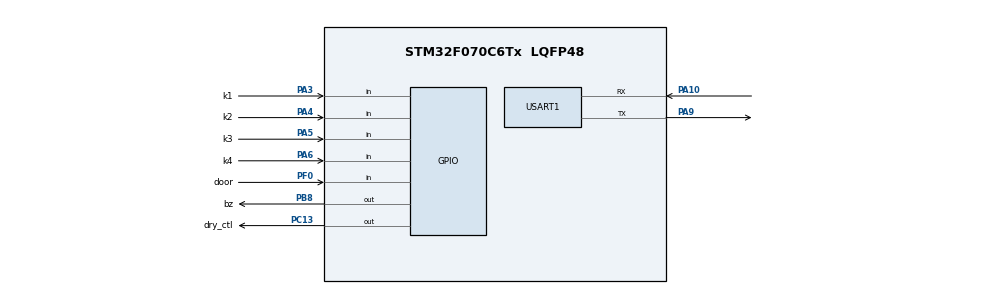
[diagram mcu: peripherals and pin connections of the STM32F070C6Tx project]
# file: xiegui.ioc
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Dma.Request0=USART1_RX
Dma.USART1_RX.0.Direction=DMA_PERIPH_TO_MEMORY
Dma.USART1_RX.0.Instance=DMA1_Channel3
Dma.USART1_RX.0.MemDataAlignment=DMA_MDATAALIGN_BYTE
Dma.USART1_RX.0.MemInc=DMA_MINC_ENABLE
Dma.USART1_RX.0.Mode=DMA_NORMAL
Dma.USART1_RX.0.PeriphDataAlignment=DMA_PDATAALIGN_BYTE
Dma.USART1_RX.0.PeriphInc=DMA_PINC_DISABLE
Dma.USART1_RX.0.Priority=DMA_PRIORITY_LOW
Mcu.Family=STM32F0
Mcu.Name=STM32F070C6Tx
Mcu.Package=LQFP48
NVIC.DMA1_Channel2_3_IRQn=true\:0\:0\:false\:false\:true\:false\:true
PA10.Mode=Asynchronous
PA10.Signal=USART1_RX
PA13.Mode=Serial_Wire
PA13.Signal=SYS_SWDIO
PA14.Mode=Serial_Wire
PA14.Signal=SYS_SWCLK
PA3.GPIO_Label=k1
PA3.Signal=GPIO_Input
PA4.GPIO_Label=k2
PA4.Signal=GPIO_Input
PA5.GPIO_Label=k3
PA5.Signal=GPIO_Input
PA6.GPIO_Label=k4
PA6.Signal=GPIO_Input
PA9.Mode=Asynchronous
PA9.Signal=USART1_TX
PB8.GPIO_Label=bz
PB8.Signal=GPIO_Output
PC13.GPIO_Label=dry_ctl
PC13.Signal=GPIO_Output
PC14OSC32_IN.GPIO_Label=fan1_ctl
PC14OSC32_IN.Signal=GPIO_Output
PC15OSC32_OUT.GPIO_Label=fan2_ctl
PC15OSC32_OUT.Signal=GPIO_Output
PF0-OSC_IN.GPIO_Label=door
PF0-OSC_IN.Signal=GPIO_Input
ProjectManager.HeapSize=0x200
ProjectManager.StackSize=0x400
ProjectManager.TargetToolchain=MDK-ARM V5.27
USART1.VirtualMode-Asynchronous=VM_ASYNC
board=custom

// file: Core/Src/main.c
/* USER CODE BEGIN Header */
/**
  ******************************************************************************
  * @file           : main.c
  * @brief          : Main program body
  ******************************************************************************
  * @attention
  *
  * <h2><center>&copy; Copyright (c) 2020 STMicroelectronics.
  * All rights reserved.</center></h2>
  *
  * This software component is licensed by ST under BSD 3-Clause license,
  * the "License"; You may not use this file except in compliance with the
  * License. You may obtain a copy of the License at:
  *                        opensource.org/licenses/BSD-3-Clause
  *
  ******************************************************************************
  */
/* USER CODE END Header */
#include "main.h"
#include "dma.h"
#include "main.h"
#include "gpio.h"

/* USER CODE BEGIN PV */
unsigned char pstat1 = 0x00;
unsigned char pstat2 = 0x00;
unsigned char pstat3 = 0x00;
unsigned char pstat4 = 0x00;
unsigned char mutex = 0x00; //互斥
/* USER CODE END PV */

void SystemClock_Config(void);
/* USER CODE BEGIN PFP */
void process_k1(unsigned char *stat);
void process_k2(unsigned char *stat);
void process_k3(unsigned char *stat);
void process_k4(unsigned char *stat);

void k1_down_handle(unsigned char *stat);
void k1_check_down_process(unsigned char *stat);
void k1_check_up_process(unsigned char *stat);
void k2_down_handle(unsigned char *stat);
void k2_check_down_process(unsigned char *stat);
void k2_check_up_process(unsigned char *stat);
void k3_down_handle(unsigned char *stat);
void k3_check_down_process(unsigned char *stat);
void k3_check_up_process(unsigned char *stat);
void k4_down_handle(unsigned char *stat);
void k4_check_down_process(unsigned char *stat);
void k4_check_up_process(unsigned char *stat);
void buzz(uint16_t a);
/* USER CODE END PFP */

int main(void)
{

  /* MCU Configuration--------------------------------------------------------*/

  /* Reset of all peripherals, Initializes the Flash interface and the Systick. */
  HAL_Init();

  /* Configure the system clock */
  SystemClock_Config();

  /* Initialize all configured peripherals */
  MX_GPIO_Init();
  MX_DMA_Init();
  MX_USART1_UART_Init();
  /* USER CODE BEGIN 2 */
  HAL_Delay(200);
	__HAL_UART_ENABLE_IT(&huart1,UART_IT_IDLE);
  HAL_UART_Receive_DMA(&huart1,u1_ins.rx_BUFFER, BUF_LEN);
  /* USER CODE END 2 */

  /* Infinite loop */
  while (1)
  {

    /* USER CODE BEGIN 3 */
    process_k1(&pstat1);
    process_k2(&pstat2);
    process_k3(&pstat3);
    process_k4(&pstat4);
  }
  /* USER CODE END 3 */
}

void SystemClock_Config(void)
{
  RCC_OscInitTypeDef RCC_OscInitStruct = {0};
  RCC_ClkInitTypeDef RCC_ClkInitStruct = {0};
  RCC_PeriphCLKInitTypeDef PeriphClkInit = {0};

  /** Initializes the RCC Oscillators according to the specified parameters
  * in the RCC_OscInitTypeDef structure.
  */
  RCC_OscInitStruct.OscillatorType = RCC_OSCILLATORTYPE_HSI;
  RCC_OscInitStruct.HSIState = RCC_HSI_ON;
  RCC_OscInitStruct.HSICalibrationValue = RCC_HSICALIBRATION_DEFAULT;
  RCC_OscInitStruct.PLL.PLLState = RCC_PLL_NONE;
  if (HAL_RCC_OscConfig(&RCC_OscInitStruct) != HAL_OK)
  {
    Error_Handler();
  }
  /** Initializes the CPU, AHB and APB buses clocks
  */
  RCC_ClkInitStruct.ClockType = RCC_CLOCKTYPE_HCLK|RCC_CLOCKTYPE_SYSCLK
                              |RCC_CLOCKTYPE_PCLK1;
  RCC_ClkInitStruct.SYSCLKSource = RCC_SYSCLKSOURCE_HSI;
  RCC_ClkInitStruct.AHBCLKDivider = RCC_SYSCLK_DIV1;
  RCC_ClkInitStruct.APB1CLKDivider = RCC_HCLK_DIV1;

  if (HAL_RCC_ClockConfig(&RCC_ClkInitStruct, FLASH_LATENCY_0) != HAL_OK)
  {
    Error_Handler();
  }
  PeriphClkInit.PeriphClockSelection = RCC_PERIPHCLK_USART1;
  PeriphClkInit.Usart1ClockSelection = RCC_USART1CLKSOURCE_PCLK1;
  if (HAL_RCCEx_PeriphCLKConfig(&PeriphClkInit) != HAL_OK)
  {
    Error_Handler();
  }
}

/* USER CODE BEGIN 4 */
void process_k1(unsigned char *stat)
{
  switch (*stat)
  {
  case K1_CHECK_DOWN:
    k1_check_down_process(stat);
    break;
  case K1_DOWN_HANDLE:
    if(mutex!=K_LOCKED)
    {
    k1_down_handle(stat);
    }
  break;
  case K1_CHECK_UP:
    k1_check_up_process(stat);
  break;
  case WIFI_K1_DOWN:

  break;
  default:
    *stat= K1_CHECK_DOWN;
    break;
  }
  return;
}
void process_k2(unsigned char *stat)
{
  switch (*stat)
  {
    case K2_CHECK_DOWN:
    k2_check_down_process(stat);
    break;
    case K2_CHECK_UP:
    k2_check_up_process(stat);
    break;
    case K2_DOWN_HANDLE:
    if(mutex!=K_LOCKED)
    {
    k2_down_handle(stat);
    }
    break;
    case WIFI_K2_DOWN:

    break;
    default:
    *stat=K2_CHECK_DOWN;
    break;
  }
}
void process_k3(unsigned char *stat)
{
  switch (*stat)
  {
    case K3_CHECK_DOWN:
    k3_check_down_process(stat);
    break;
    case K3_CHECK_UP:
    k3_check_up_process(stat);
    break;
    case K3_DOWN_HANDLE:
    if(mutex!=K_LOCKED)
    {
    k3_down_handle(stat);
    }
    break;
    case WIFI_K3_DOWN:

    break;
    default:
    *stat=K3_CHECK_DOWN;
    break;
  }
}

void process_k4(unsigned char *stat)
{
  switch(*stat)
  {
    case K4_CHECK_DOWN:
    k4_check_down_process(stat);
    break;
    case K4_CHECK_UP:
    k4_check_up_process(stat);
    break;
    case K4_DOWN_HANDLE:
    k4_down_handle(stat);
    break;
    case WIFI_K4_DOWN:

    break;
    default:
    *stat = K4_CHECK_DOWN;
    break;
  }
}

void k1_check_down_process(unsigned char *stat)
{
  if(HAL_GPIO_ReadPin(k1_GPIO_Port,k1_Pin)==0&&(mutex!=K_LOCKED)) //�?????测是否按下按键K1
  {
    *stat= K1_DOWN_HANDLE;
  }
}
void k1_down_handle(unsigned char *stat)  //按下按键处理 臭氧�?????�?????
{
    *stat = K1_CHECK_UP;
     buzz(100);
     if(HAL_GPIO_ReadPin(dry_ctl_GPIO_Port,dry_ctl_Pin)==0)
     {
       HAL_GPIO_WritePin(dry_ctl_GPIO_Port,dry_ctl_Pin,GPIO_PIN_SET);
     }
     else
     {
       HAL_GPIO_WritePin(dry_ctl_GPIO_Port,dry_ctl_Pin,GPIO_PIN_RESET);
     }

}
void k1_check_up_process(unsigned char *stat)
{
    if(HAL_GPIO_ReadPin(k1_GPIO_Port,k1_Pin)==1) //�?????测是否松�?????K1
  {
    *stat = K1_CHECK_DOWN;
  }
}

void k2_check_down_process(unsigned char *stat)
{

  if(HAL_GPIO_ReadPin(k2_GPIO_Port,k2_Pin)==0&&(mutex!=K_LOCKED))//�?????测是否按下按键K2
  {
    *stat=K2_DOWN_HANDLE;
  }
}

void k2_down_handle(unsigned char *stat)   //按下K2处理
{
  *stat = K2_CHECK_UP;
  buzz(100);
 if(HAL_GPIO_ReadPin(fan1_ctl_GPIO_Port,fan1_ctl_Pin)==0)
 {
   HAL_GPIO_WritePin(fan1_ctl_GPIO_Port,fan1_ctl_Pin,GPIO_PIN_SET);
 }
 else
 {
   HAL_GPIO_WritePin(fan1_ctl_GPIO_Port,fan1_ctl_Pin,GPIO_PIN_RESET);
 }

}
void k2_check_up_process(unsigned char *stat)
{
   if(HAL_GPIO_ReadPin(k2_GPIO_Port,k2_Pin)==1) //�?????测是否松�?????K2
   {
    *stat = K2_CHECK_DOWN;
   }
}

void k3_check_down_process(unsigned char *stat)
{

  if(HAL_GPIO_ReadPin(k3_GPIO_Port,k3_Pin)==0&&(mutex!=K_LOCKED)) //�?????测是否按下按键K3
  {
    *stat=K3_DOWN_HANDLE;
  }
}
void k3_down_handle(unsigned char *stat)  //按下处理
{
  *stat = K3_CHECK_UP;
  buzz(100);
  if(HAL_GPIO_ReadPin(fan2_ctl_GPIO_Port,fan2_ctl_Pin)==0)
  {
    HAL_GPIO_WritePin(fan2_ctl_GPIO_Port,fan2_ctl_Pin,GPIO_PIN_SET);
  }
  else
  {
     HAL_GPIO_WritePin(fan2_ctl_GPIO_Port,fan2_ctl_Pin,GPIO_PIN_RESET);
  }

}
void k3_check_up_process(unsigned char *stat)
{

  if(HAL_GPIO_ReadPin(k3_GPIO_Port,k3_Pin)==1) //�?????测是否松�?????K3
  {
    *stat=K3_CHECK_DOWN;
  }
}

void k4_check_down_process(unsigned char *stat)
{
  if(HAL_GPIO_ReadPin(k4_GPIO_Port,k4_Pin)==0) //�?????测是否按下按键K4
  {
    *stat=K4_DOWN_HANDLE;
  }
}
void k4_down_handle(unsigned char *stat)        //按下处理
{
 static uint16_t i=0 ;

  if(mutex!=K_LOCKED)
  {
    buzz(100);
    mutex = K_LOCKED;
		*stat = K4_CHECK_UP;
    return;
  }
  if((mutex ==K_LOCKED)&&(HAL_GPIO_ReadPin(k4_GPIO_Port,k4_Pin)==0))
   {
        i++;
        if(i>65534)
        {
                i =0;
                buzz(300);
                mutex = K_UNLOCKED;
                *stat = K4_CHECK_UP;
            return;
        }

  }
	 if((mutex ==K_LOCKED)&&(HAL_GPIO_ReadPin(k4_GPIO_Port,k4_Pin)==1))
	 {
	  i=0;
	  return;
	 }
 }
void k4_check_up_process(unsigned char *stat)
{

  if(HAL_GPIO_ReadPin(k4_GPIO_Port,k4_Pin)==1) //�?????测是否松�?????K4
  {
    *stat=K4_CHECK_DOWN;
  }
}
void buzz(uint16_t a)
{
  HAL_GPIO_WritePin(bz_GPIO_Port,bz_Pin,GPIO_PIN_SET);
  HAL_Delay(a);
  HAL_GPIO_WritePin(bz_GPIO_Port,bz_Pin,GPIO_PIN_RESET);
}
void WifiK1Down(unsigned char *stat)
{
   buzz(100);
   *stat = K1_CHECK_DOWN;
    if(HAL_GPIO_ReadPin(dry_ctl_GPIO_Port,dry_ctl_Pin)==0)
    {
      HAL_GPIO_WritePin(dry_ctl_GPIO_Port,dry_ctl_Pin,GPIO_PIN_SET);
    }
    else
    {
      HAL_GPIO_WritePin(dry_ctl_GPIO_Port,dry_ctl_Pin,GPIO_PIN_RESET);
    }
}
void WifiK2Down(unsigned char *stat)
{
    buzz(100);
    *stat = K2_CHECK_DOWN;
    if(HAL_GPIO_ReadPin(fan1_ctl_GPIO_Port,fan1_ctl_Pin)==0)
      {
        HAL_GPIO_WritePin(fan1_ctl_GPIO_Port,fan1_ctl_Pin,GPIO_PIN_SET);
      }
      else
      {
        HAL_GPIO_WritePin(fan1_ctl_GPIO_Port,fan1_ctl_Pin,GPIO_PIN_RESET);
      }

}
void WifiK3Down(unsigned char *stat)
{
   buzz(100);
   *stat = K3_CHECK_DOWN;
     if(HAL_GPIO_ReadPin(fan2_ctl_GPIO_Port,fan2_ctl_Pin)==0)
      {
        HAL_GPIO_WritePin(fan2_ctl_GPIO_Port,fan2_ctl_Pin,GPIO_PIN_SET);
      }
      else
      {
        HAL_GPIO_WritePin(fan2_ctl_GPIO_Port,fan2_ctl_Pin,GPIO_PIN_RESET);
      }

}
void WifiK4Down(unsigned char *stat)
{
   buzz(100);
   *stat = K4_CHECK_DOWN;
   if(mutex!=K_LOCKED)
  {
    buzz(100);
    mutex = K_LOCKED;
  }
    if(mutex==K_LOCKED)
  {
    buzz(300);
    mutex = K_UNLOCKED;
  }

}
/* USER CODE END 4 */

void Error_Handler(void)
{
}

/************************ (C) COPYRIGHT STMicroelectronics *****END OF FILE****/
